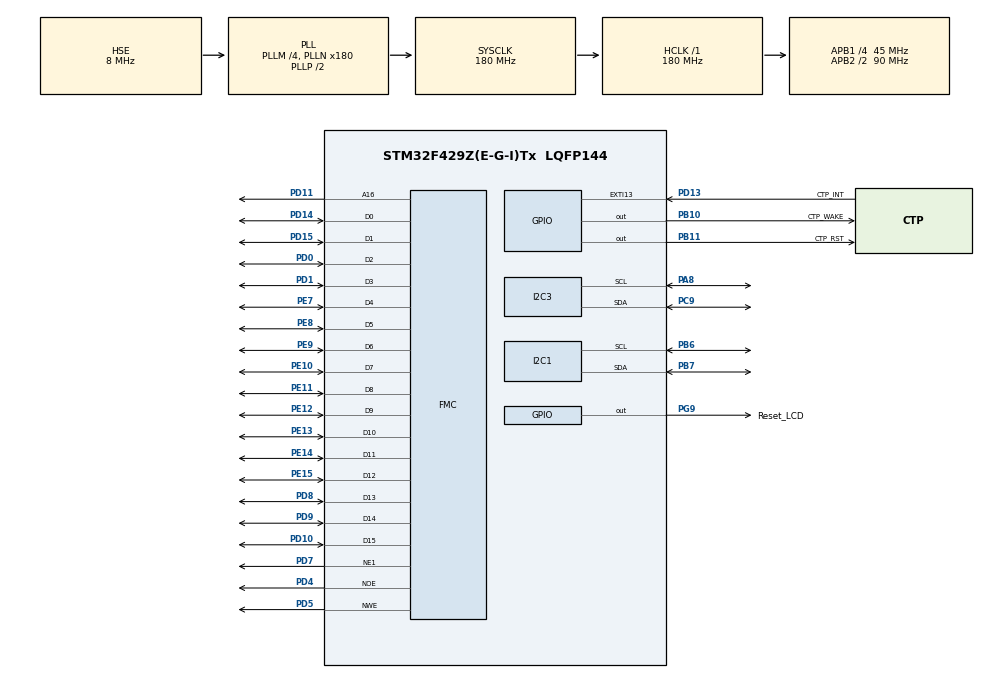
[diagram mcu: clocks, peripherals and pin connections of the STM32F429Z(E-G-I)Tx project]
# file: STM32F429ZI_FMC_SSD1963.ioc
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I2C1.I2C_Mode=I2C_Fast
I2C3.OwnAddress=111
Mcu.Family=STM32F4
Mcu.Name=STM32F429Z(E-G-I)Tx
Mcu.Package=LQFP144
NVIC.EXTI15_10_IRQn=true\:0\:0\:false\:false\:true
NVIC.I2C1_ER_IRQn=true\:0\:0\:false\:false\:true
NVIC.I2C1_EV_IRQn=true\:0\:0\:false\:false\:true
NVIC.I2C3_ER_IRQn=true\:0\:0\:false\:false\:true
NVIC.I2C3_EV_IRQn=true\:0\:0\:false\:false\:true
NVIC.PVD_IRQn=true\:0\:0\:false\:false\:true
NVIC.PriorityGroup=NVIC_PRIORITYGROUP_4
PA13.Mode=Serial_Wire
PA13.Signal=SYS_JTMS-SWDIO
PA14.Mode=Serial_Wire
PA14.Signal=SYS_JTCK-SWCLK
PA8.GPIO_PuPdOD=GPIO_PULLUP
PA8.GPIO_Speed=GPIO_SPEED_FREQ_VERY_HIGH
PA8.Mode=I2C
PA8.Signal=I2C3_SCL
PB10.GPIO_Label=CTP_WAKE
PB10.GPIO_ModeDefaultOutputPP=GPIO_MODE_OUTPUT_PP
PB10.GPIO_PuPd=GPIO_PULLUP
PB10.GPIO_Speed=GPIO_SPEED_FREQ_VERY_HIGH
PB10.PinState=GPIO_PIN_SET
PB10.Signal=GPIO_Output
PB11.GPIO_Label=CTP_RST
PB11.GPIO_PuPd=GPIO_PULLUP
PB11.GPIO_Speed=GPIO_SPEED_FREQ_VERY_HIGH
PB11.PinState=GPIO_PIN_SET
PB11.Signal=GPIO_Output
PB6.GPIO_PuPdOD=GPIO_PULLUP
PB6.GPIO_Speed=GPIO_SPEED_FREQ_VERY_HIGH
PB6.Mode=I2C
PB6.Signal=I2C1_SCL
PB7.GPIO_PuPdOD=GPIO_PULLUP
PB7.GPIO_Speed=GPIO_SPEED_FREQ_VERY_HIGH
PB7.Mode=I2C
PB7.Signal=I2C1_SDA
PC9.GPIO_PuPdOD=GPIO_PULLUP
PC9.GPIO_Speed=GPIO_SPEED_FREQ_VERY_HIGH
PC9.Mode=I2C
PC9.Signal=I2C3_SDA
PD0.Signal=FMC_D2_DA2
PD1.Signal=FMC_D3_DA3
PD10.Signal=FMC_D15_DA15
PD11.Signal=FMC_A16_CLE
PD13.GPIO_Label=CTP_INT
PD13.GPIO_PuPd=GPIO_PULLUP
PD13.Signal=GPXTI13
PD14.Signal=FMC_D0_DA0
PD15.Signal=FMC_D1_DA1
PD4.Signal=FMC_NOE
PD5.Signal=FMC_NWE
PD7.Mode=NorPsramChipSelect1_1
PD7.Signal=FMC_NE1
PD8.Signal=FMC_D13_DA13
PD9.Signal=FMC_D14_DA14
PE10.Signal=FMC_D7_DA7
PE11.Signal=FMC_D8_DA8
PE12.Signal=FMC_D9_DA9
PE13.Signal=FMC_D10_DA10
PE14.Signal=FMC_D11_DA11
PE15.Signal=FMC_D12_DA12
PE7.Signal=FMC_D4_DA4
PE8.Signal=FMC_D5_DA5
PE9.Signal=FMC_D6_DA6
PG9.GPIO_Label=Reset_LCD
PG9.GPIO_PuPd=GPIO_PULLUP
PG9.PinState=GPIO_PIN_SET
PG9.Signal=GPIO_Output
PH0/OSC_IN.Mode=HSE-External-Oscillator
PH0/OSC_IN.Signal=RCC_OSC_IN
PH1/OSC_OUT.Mode=HSE-External-Oscillator
PH1/OSC_OUT.Signal=RCC_OSC_OUT
ProjectManager.HeapSize=0x200
ProjectManager.StackSize=0x400
ProjectManager.TargetToolchain=MDK-ARM V5
RCC.48MHZClocksFreq_Value=90000000
RCC.AHBFreq_Value=180000000
RCC.APB1CLKDivider=RCC_HCLK_DIV4
RCC.APB1Freq_Value=45000000
RCC.APB1TimFreq_Value=90000000
RCC.APB2CLKDivider=RCC_HCLK_DIV2
RCC.APB2Freq_Value=90000000
RCC.APB2TimFreq_Value=180000000
RCC.CortexFreq_Value=180000000
RCC.HCLKFreq_Value=180000000
RCC.HSE_VALUE=8000000
RCC.HSI_VALUE=16000000
RCC.LSE_VALUE=32768
RCC.PLLM=4
RCC.PLLN=180
RCC.PLLSourceVirtual=RCC_PLLSOURCE_HSE
RCC.SYSCLKFreq_VALUE=180000000
RCC.SYSCLKSource=RCC_SYSCLKSOURCE_PLLCLK
RCC.VCOOutputFreq_Value=360000000
SH.FMC_A16_CLE.0=FMC_A16,A16_1
SH.FMC_D0_DA0.0=FMC_D0,16b-d1
SH.FMC_D10_DA10.0=FMC_D10,16b-d1
SH.FMC_D11_DA11.0=FMC_D11,16b-d1
SH.FMC_D12_DA12.0=FMC_D12,16b-d1
SH.FMC_D13_DA13.0=FMC_D13,16b-d1
SH.FMC_D14_DA14.0=FMC_D14,16b-d1
SH.FMC_D15_DA15.0=FMC_D15,16b-d1
SH.FMC_D1_DA1.0=FMC_D1,16b-d1
SH.FMC_D2_DA2.0=FMC_D2,16b-d1
SH.FMC_D3_DA3.0=FMC_D3,16b-d1
SH.FMC_D4_DA4.0=FMC_D4,16b-d1
SH.FMC_D5_DA5.0=FMC_D5,16b-d1
SH.FMC_D6_DA6.0=FMC_D6,16b-d1
SH.FMC_D7_DA7.0=FMC_D7,16b-d1
SH.FMC_D8_DA8.0=FMC_D8,16b-d1
SH.FMC_D9_DA9.0=FMC_D9,16b-d1
SH.FMC_NOE.0=FMC_NOE,Lcd1
SH.FMC_NWE.0=FMC_NWE,Lcd1
board=STM32F429ZI_FMC_SSD1963

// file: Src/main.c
/**
  ******************************************************************************
  * File Name          : main.c
  * Description        : Main program body
  ******************************************************************************
  *
  * COPYRIGHT(c) 2016 STMicroelectronics
  *
  * Redistribution and use in source and binary forms, with or without modification,
  * are permitted provided that the following conditions are met:
  *   1. Redistributions of source code must retain the above copyright notice,
  *      this list of conditions and the following disclaimer.
  *   2. Redistributions in binary form must reproduce the above copyright notice,
  *      this list of conditions and the following disclaimer in the documentation
  *      and/or other materials provided with the distribution.
  *   3. Neither the name of STMicroelectronics nor the names of its contributors
  *      may be used to endorse or promote products derived from this software
  *      without specific prior written permission.
  *
  * THIS SOFTWARE IS PROVIDED BY THE COPYRIGHT HOLDERS AND CONTRIBUTORS "AS IS"
  * AND ANY EXPRESS OR IMPLIED WARRANTIES, INCLUDING, BUT NOT LIMITED TO, THE
  * IMPLIED WARRANTIES OF MERCHANTABILITY AND FITNESS FOR A PARTICULAR PURPOSE ARE
  * DISCLAIMED. IN NO EVENT SHALL THE COPYRIGHT HOLDER OR CONTRIBUTORS BE LIABLE
  * FOR ANY DIRECT, INDIRECT, INCIDENTAL, SPECIAL, EXEMPLARY, OR CONSEQUENTIAL
  * DAMAGES (INCLUDING, BUT NOT LIMITED TO, PROCUREMENT OF SUBSTITUTE GOODS OR
  * SERVICES; LOSS OF USE, DATA, OR PROFITS; OR BUSINESS INTERRUPTION) HOWEVER
  * CAUSED AND ON ANY THEORY OF LIABILITY, WHETHER IN CONTRACT, STRICT LIABILITY,
  * OR TORT (INCLUDING NEGLIGENCE OR OTHERWISE) ARISING IN ANY WAY OUT OF THE USE
  * OF THIS SOFTWARE, EVEN IF ADVISED OF THE POSSIBILITY OF SUCH DAMAGE.
  *
  ******************************************************************************
  */
#include "main.h"
#include "stm32f4xx_hal.h"

/* USER CODE BEGIN Includes */
#include "display_ssd1963.h"
#include "touch.h"
#include "GUI.h"
#include "WindowDLG.h"
/* USER CODE END Includes */

I2C_HandleTypeDef hi2c1;
I2C_HandleTypeDef hi2c3;

SRAM_HandleTypeDef hsram1;

/* USER CODE BEGIN PV */
/* Private variables ---------------------------------------------------------*/
uint8_t MasterTX[5] = {1,2,3,4,5};
uint8_t SlaveRX[5];
uint8_t str[200];
uint8_t touch_receive[0x32];
uint16_t touch_adr;
uint16_t x_pos[5],y_pos[5];
/* USER CODE END PV */

void SystemClock_Config(void);
void Error_Handler(void);
static void MX_GPIO_Init(void);
static void MX_FMC_Init(void);
static void MX_I2C1_Init(void);
static void MX_I2C3_Init(void);

/* USER CODE BEGIN PFP */
/* Private function prototypes -----------------------------------------------*/
//void HAL_I2C_SlaveRxCpltCallback(I2C_HandleTypeDef *hi2c);

/* USER CODE END PFP */

int main(void)
{

  /* MCU Configuration----------------------------------------------------------*/

  /* Reset of all peripherals, Initializes the Flash interface and the Systick. */
  HAL_Init();

  /* Configure the system clock */
  SystemClock_Config();

  /* Initialize all configured peripherals */
  MX_GPIO_Init();
  MX_FMC_Init();
  MX_I2C1_Init();

  MX_I2C3_Init();

  /* USER CODE BEGIN 2 */

//  HAL_I2C_Slave_Receive(&hi2c3, SlaveRX,SIZE,100);

  HAL_GPIO_WritePin(CTP_WAKE_GPIO_Port, CTP_WAKE_Pin,GPIO_PIN_SET);
  HAL_GPIO_WritePin(CTP_RST_GPIO_Port, CTP_RST_Pin,GPIO_PIN_RESET);
  HAL_GPIO_WritePin(Reset_LCD_GPIO_Port, Reset_LCD_Pin,GPIO_PIN_RESET);
  HAL_Delay(500);
  HAL_GPIO_WritePin(CTP_RST_GPIO_Port, CTP_RST_Pin,GPIO_PIN_SET);
  HAL_GPIO_WritePin(Reset_LCD_GPIO_Port, Reset_LCD_Pin,GPIO_PIN_SET);
  HAL_Delay(100);
  __HAL_RCC_CRC_CLK_ENABLE();
  Init_SSD1963();
  GUI_Init();

  for(uint32_t index_clr=0;index_clr < 800*480;index_clr++){
    Lcd_Write_Data(BLACK); 	//setbuf color pixel
 	}
  Lcd_ClearScreen(BLUE);
//  for(uint32_t index_set=0;index_set < 100;index_set++){
//    Lcd_SetPixel(index_set, index_set, green);
//  }
//  Lcd_FillArea(100, 150, 100, 150, white);
//	TFT_Draw_Char(500,100,RED,BLACK,(const uint8_t*) font8x8,'5',3);
//	TFT_Draw_Char(500,200,GREEN,BLACK,(const uint8_t*) font8x8,'b',3);
//	TFT_Draw_Char(200,300,GREEN,BLACK,(const uint8_t*) font8x8,'5',3);

//	TFT_Draw_String(230, 220, YELLOW, BLUE,(const uint8_t*) font8x8, "SLAVA UKRAINI",4);

//ф-ция рисует окружность нужного радиуса, линией задданой толщины и выбранным цветом, также возможно
//залить окружность нужным цветом для этого установить аргумент fill равным единице, иначе ноль
//void TFT_Draw_Circle(uint16_t x, uint16_t y, uint8_t radius, uint8_t fill, uint8_t size, uint16_t color);
//TFT_Draw_Circle(200, 200, 50, 0, 0 , green);
  /* USER CODE BEGIN WHILE */
HAL_Delay(1000);
y_pos[0] = 0;
x_pos[0] = 0;
  CreateWindow();
    GUI_Delay(5000);
  while (1)
  {

y_pos[0]=800*(256*(0x0F & (touch_receive[3])) + touch_receive[4])/1791;
x_pos[0]=480*(256*(0x0F & (touch_receive[5])) + touch_receive[6])/1024;
////y_pos[1]=256*(0x0F & (touch_receive[9]))+touch_receive[0xa];
////x_pos[1]=256*(0x0F & (touch_receive[0xb]))+touch_receive[0xc];
////
////y_pos[2]=256*(0x0F & (touch_receive[0x0d]))+touch_receive[0x0e];
////x_pos[2]=256*(0x0F & (touch_receive[0x0f]))+touch_receive[0x11];
////
////y_pos[3]=256*(0x0F & (touch_receive[0x12]))+touch_receive[0x13];
////x_pos[3]=256*(0x0F & (touch_receive[0x14]))+touch_receive[0x15];

////y_pos[4]=256*(0x0F & (touch_receive[0x16]))+touch_receive[0x17];
////x_pos[4]=256*(0x0F & (touch_receive[0x18]))+touch_receive[0x19];
   if((x_pos[0] > 8 ) && (y_pos[0] >8)){
TFT_Draw_Circle(y_pos[0], x_pos[0], 8, 1, 1 , GREEN);
  }
   else{
  Lcd_ClearScreen(BLUE);
   }
////////MasterTX[0]=0x00;
////////MasterTX[1]=0x01;
////////MasterTX[2]=0x02;
////////MasterTX[3]=0x03;
//////////touch_adr = HAL_I2C_Master_Receive(&hi2c1, 0x6e, touch_receive, 0x03, 1);
//////////HAL_Delay(1);
////////touch_adr = HAL_I2C_Master_Transmit(&hi2c1, 0x70, MasterTX, 0x01, 1);
//////////HAL_Delay(1);
//////////for(uint8_t ttt=0; ttt<0x1F;ttt++){
////////touch_adr = HAL_I2C_Master_Receive(&hi2c1, 0x71, touch_receive, 0x30, 1);
////////HAL_Delay(10);

  /* USER CODE END WHILE */

  }

}

/** System Clock Configuration
*/
void SystemClock_Config(void)
{

  RCC_OscInitTypeDef RCC_OscInitStruct;
  RCC_ClkInitTypeDef RCC_ClkInitStruct;

    /**Configure the main internal regulator output voltage
    */
  __HAL_RCC_PWR_CLK_ENABLE();

  __HAL_PWR_VOLTAGESCALING_CONFIG(PWR_REGULATOR_VOLTAGE_SCALE1);

    /**Initializes the CPU, AHB and APB busses clocks
    */
  RCC_OscInitStruct.OscillatorType = RCC_OSCILLATORTYPE_HSE;
  RCC_OscInitStruct.HSEState = RCC_HSE_ON;
  RCC_OscInitStruct.PLL.PLLState = RCC_PLL_ON;
  RCC_OscInitStruct.PLL.PLLSource = RCC_PLLSOURCE_HSE;
  RCC_OscInitStruct.PLL.PLLM = 4;
  RCC_OscInitStruct.PLL.PLLN = 180;
  RCC_OscInitStruct.PLL.PLLP = RCC_PLLP_DIV2;
  RCC_OscInitStruct.PLL.PLLQ = 4;
  if (HAL_RCC_OscConfig(&RCC_OscInitStruct) != HAL_OK)
  {
    Error_Handler();
  }

    /**Activate the Over-Drive mode
    */
  if (HAL_PWREx_EnableOverDrive() != HAL_OK)
  {
    Error_Handler();
  }

    /**Initializes the CPU, AHB and APB busses clocks
    */
  RCC_ClkInitStruct.ClockType = RCC_CLOCKTYPE_HCLK|RCC_CLOCKTYPE_SYSCLK
                              |RCC_CLOCKTYPE_PCLK1|RCC_CLOCKTYPE_PCLK2;
  RCC_ClkInitStruct.SYSCLKSource = RCC_SYSCLKSOURCE_PLLCLK;
  RCC_ClkInitStruct.AHBCLKDivider = RCC_SYSCLK_DIV1;
  RCC_ClkInitStruct.APB1CLKDivider = RCC_HCLK_DIV4;
  RCC_ClkInitStruct.APB2CLKDivider = RCC_HCLK_DIV2;

  if (HAL_RCC_ClockConfig(&RCC_ClkInitStruct, FLASH_LATENCY_5) != HAL_OK)
  {
    Error_Handler();
  }

    /**Configure the Systick interrupt time
    */
  HAL_SYSTICK_Config(HAL_RCC_GetHCLKFreq()/1000);

    /**Configure the Systick
    */
  HAL_SYSTICK_CLKSourceConfig(SYSTICK_CLKSOURCE_HCLK);

  /* SysTick_IRQn interrupt configuration */
  HAL_NVIC_SetPriority(SysTick_IRQn, 0, 0);
}

/* I2C1 init function */
static void MX_I2C1_Init(void)
{

  hi2c1.Instance = I2C1;
  hi2c1.Init.ClockSpeed = 400000;
  hi2c1.Init.DutyCycle = I2C_DUTYCYCLE_2;
  hi2c1.Init.OwnAddress1 = 0;
  hi2c1.Init.AddressingMode = I2C_ADDRESSINGMODE_7BIT;
  hi2c1.Init.DualAddressMode = I2C_DUALADDRESS_DISABLE;
  hi2c1.Init.OwnAddress2 = 0;
  hi2c1.Init.GeneralCallMode = I2C_GENERALCALL_DISABLE;
  hi2c1.Init.NoStretchMode = I2C_NOSTRETCH_DISABLE;
  if (HAL_I2C_Init(&hi2c1) != HAL_OK)
  {
    Error_Handler();
  }

}

/* I2C3 init function */
static void MX_I2C3_Init(void)
{

  hi2c3.Instance = I2C3;
  hi2c3.Init.ClockSpeed = 100000;
  hi2c3.Init.DutyCycle = I2C_DUTYCYCLE_2;
  hi2c3.Init.OwnAddress1 = 222;
  hi2c3.Init.AddressingMode = I2C_ADDRESSINGMODE_7BIT;
  hi2c3.Init.DualAddressMode = I2C_DUALADDRESS_DISABLE;
  hi2c3.Init.OwnAddress2 = 0;
  hi2c3.Init.GeneralCallMode = I2C_GENERALCALL_DISABLE;
  hi2c3.Init.NoStretchMode = I2C_NOSTRETCH_DISABLE;
  if (HAL_I2C_Init(&hi2c3) != HAL_OK)
  {
    Error_Handler();
  }

}
/* FMC initialization function */
static void MX_FMC_Init(void)
{
  FMC_NORSRAM_TimingTypeDef Timing;

  /** Perform the SRAM1 memory initialization sequence
  */
  hsram1.Instance = FMC_NORSRAM_DEVICE;
  hsram1.Extended = FMC_NORSRAM_EXTENDED_DEVICE;
  /* hsram1.Init */
  hsram1.Init.NSBank = FMC_NORSRAM_BANK1;
  hsram1.Init.DataAddressMux = FMC_DATA_ADDRESS_MUX_DISABLE;
  hsram1.Init.MemoryType = FMC_MEMORY_TYPE_SRAM;
  hsram1.Init.MemoryDataWidth = FMC_NORSRAM_MEM_BUS_WIDTH_16;
  hsram1.Init.BurstAccessMode = FMC_BURST_ACCESS_MODE_DISABLE;
  hsram1.Init.WaitSignalPolarity = FMC_WAIT_SIGNAL_POLARITY_LOW;
  hsram1.Init.WrapMode = FMC_WRAP_MODE_DISABLE;
  hsram1.Init.WaitSignalActive = FMC_WAIT_TIMING_BEFORE_WS;
  hsram1.Init.WriteOperation = FMC_WRITE_OPERATION_ENABLE;
  hsram1.Init.WaitSignal = FMC_WAIT_SIGNAL_DISABLE;
  hsram1.Init.ExtendedMode = FMC_EXTENDED_MODE_DISABLE;
  hsram1.Init.AsynchronousWait = FMC_ASYNCHRONOUS_WAIT_DISABLE;
  hsram1.Init.WriteBurst = FMC_WRITE_BURST_DISABLE;
  hsram1.Init.ContinuousClock = FMC_CONTINUOUS_CLOCK_SYNC_ONLY;
  hsram1.Init.PageSize = FMC_PAGE_SIZE_NONE;
  /* Timing */
  Timing.AddressSetupTime = 10;
  Timing.AddressHoldTime = 10;
  Timing.DataSetupTime = 10;
  Timing.BusTurnAroundDuration = 10;
  Timing.CLKDivision = 5;
  Timing.DataLatency = 10;
  Timing.AccessMode = FMC_ACCESS_MODE_A;
  /* ExtTiming */

  if (HAL_SRAM_Init(&hsram1, &Timing, NULL) != HAL_OK)
  {
    Error_Handler();
  }

}

/** Configure pins as
        * Analog
        * Input
        * Output
        * EVENT_OUT
        * EXTI
*/
static void MX_GPIO_Init(void)
{

  GPIO_InitTypeDef GPIO_InitStruct;

  /* GPIO Ports Clock Enable */
  __HAL_RCC_GPIOH_CLK_ENABLE();
  __HAL_RCC_GPIOE_CLK_ENABLE();
  __HAL_RCC_GPIOB_CLK_ENABLE();
  __HAL_RCC_GPIOD_CLK_ENABLE();
  __HAL_RCC_GPIOC_CLK_ENABLE();
  __HAL_RCC_GPIOA_CLK_ENABLE();
  __HAL_RCC_GPIOG_CLK_ENABLE();

  /*Configure GPIO pin Output Level */
  HAL_GPIO_WritePin(GPIOB, CTP_WAKE_Pin|CTP_RST_Pin, GPIO_PIN_SET);

  /*Configure GPIO pin Output Level */
  HAL_GPIO_WritePin(Reset_LCD_GPIO_Port, Reset_LCD_Pin, GPIO_PIN_SET);

  /*Configure GPIO pins : CTP_WAKE_Pin CTP_RST_Pin */
  GPIO_InitStruct.Pin = CTP_WAKE_Pin|CTP_RST_Pin;
  GPIO_InitStruct.Mode = GPIO_MODE_OUTPUT_PP;
  GPIO_InitStruct.Pull = GPIO_PULLUP;
  GPIO_InitStruct.Speed = GPIO_SPEED_FREQ_VERY_HIGH;
  HAL_GPIO_Init(GPIOB, &GPIO_InitStruct);

  /*Configure GPIO pin : CTP_INT_Pin */
  GPIO_InitStruct.Pin = CTP_INT_Pin;
  GPIO_InitStruct.Mode = GPIO_MODE_IT_RISING;
  GPIO_InitStruct.Pull = GPIO_PULLUP;
  HAL_GPIO_Init(CTP_INT_GPIO_Port, &GPIO_InitStruct);

  /*Configure GPIO pin : Reset_LCD_Pin */
  GPIO_InitStruct.Pin = Reset_LCD_Pin;
  GPIO_InitStruct.Mode = GPIO_MODE_OUTPUT_PP;
  GPIO_InitStruct.Pull = GPIO_PULLUP;
  GPIO_InitStruct.Speed = GPIO_SPEED_FREQ_LOW;
  HAL_GPIO_Init(Reset_LCD_GPIO_Port, &GPIO_InitStruct);

  /* EXTI interrupt init*/
  HAL_NVIC_SetPriority(EXTI15_10_IRQn, 0, 0);
  HAL_NVIC_EnableIRQ(EXTI15_10_IRQn);

}

void Error_Handler(void)
{
  while(1)
  {
  }
}

/************************ (C) COPYRIGHT STMicroelectronics *****END OF FILE****/
